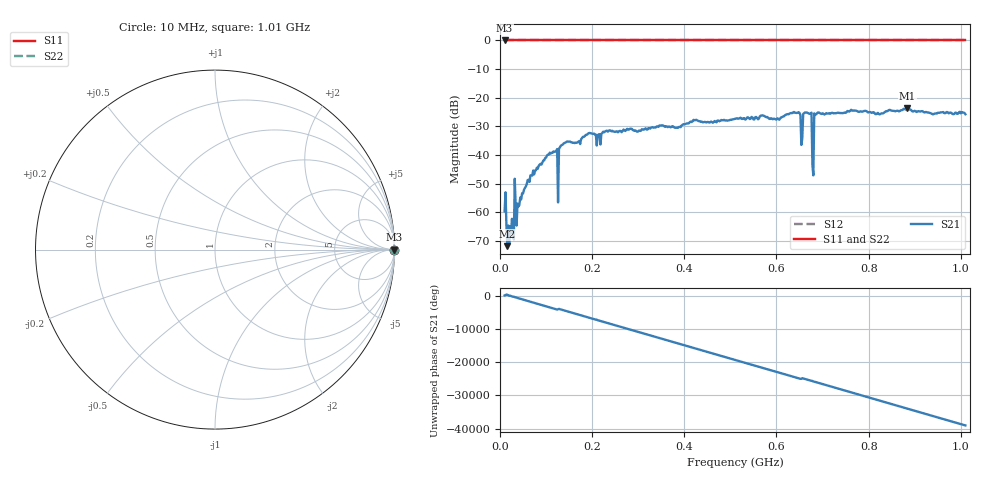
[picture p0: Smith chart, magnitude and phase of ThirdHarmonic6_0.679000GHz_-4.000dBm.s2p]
! 8/15/2025 10:37:36 PM
! C:\ANRITSUVNA\TEMP\TEMP.S2P
! CHANNEL.1
! TR.MEASUREMENT
! RAW.DATA
! RF.CORRECTION.OFF
! AVERAGING.OFF
! IF.BANDWIDTH: 5KHZ
! SWEEPTYPE:  FREQ.SWEEP(Linear)
! Reference Plane Port Info
! PORT:  PORT1  PORT2
! DISTANCE:  0  m  0  m
! TIME:  0  s  0  s
! PHASE.OFFSET:  0  deg.  0  deg.
! LOSS:  0  dB  0  dB
! REF.LOSS:  0  dB  0  dB
! REF.FREQ:  0  Hz  0  Hz
! Power Info
! POWER:  -20  dBm  -20  dBm
! EFF.POWER:  -20  dBm  -20  dBm
! SOURCE.ATTEN:  0  dB  0  dB
! TEST.ATTEN:  0  dB  0  dB
# GHZ S RI R 50.0
! FREQ.GHZ  S11RE  S11IM  S21RE  S21IM  S12RE  S12IM  S22RE  S22IM
!; PortSelection: Port_12
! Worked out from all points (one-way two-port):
!   501 points, 10 MHz to 1.01 GHz, reference 50 ohm
!   highest |S21| = -23.69 dB at 884 MHz (marker M1); lowest = -71.8 dB at 16 MHz (marker M2)
!   lowest |S11| = 0.0 dB at 10 MHz (marker M3)
!   |S11| at or under -10 dB: nowhere
!   |S22| runs from 0.0 to 0.0 dB; largest |S21 - S12| = 1.1
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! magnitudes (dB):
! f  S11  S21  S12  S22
! 10 MHz  0.0  -59.7  0.0  0.0
! 16 MHz  0.0  -71.8  0.0  0.0
! 26 MHz  0.0  -62.3  0.0  0.0
! 36 MHz  0.0  -64.6  0.0  0.0
! 102 MHz  0.0  -40.1  0.0  0.0
! 120 MHz  0.0  -38.8  0.0  0.0
! 122 MHz  0.0  -38.7  0.0  0.0
! 136 MHz  0.0  -36.4  0.0  0.0
! 178 MHz  0.0  -34.1  0.0  0.0
! 344 MHz  0.0  -30.2  0.0  0.0
! 510 MHz  0.0  -27.4  0.0  0.0
! 646 MHz  0.0  -25.2  0.0  0.0
! 656 MHz  0.0  -34.2  0.0  0.0
! 662 MHz  0.0  -25.1  0.0  0.0
! 672 MHz  0.0  -25.6  0.0  0.0
! 676 MHz  0.0  -25.2  0.0  0.0
! 678 MHz  0.0  -43.5  0.0  0.0
! 682 MHz  0.0  -25.5  0.0  0.0
! 686 MHz  0.0  -25.8  0.0  0.0
! 844 MHz  0.0  -24.3  0.0  0.0
! 884 MHz  0.0  -23.7  0.0  0.0
! 1.01 GHz  0.0  -25.8  0.0  0.0
